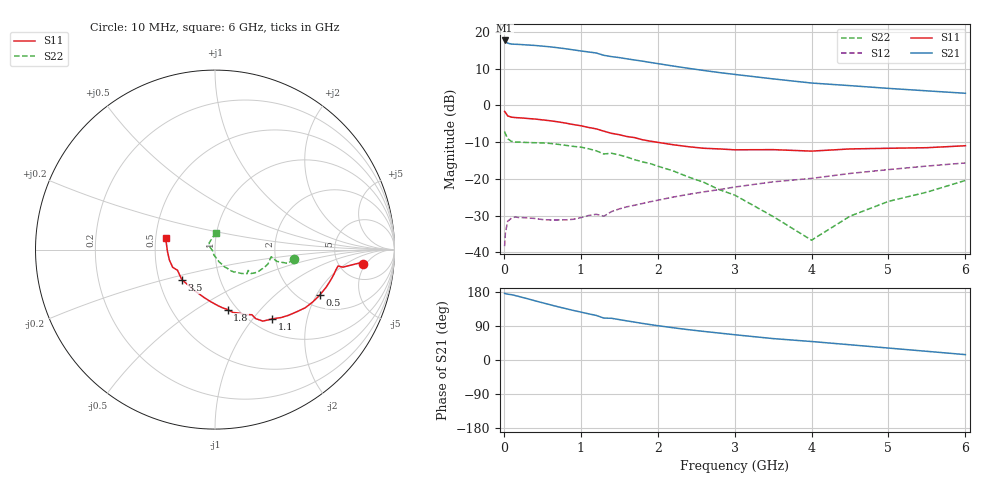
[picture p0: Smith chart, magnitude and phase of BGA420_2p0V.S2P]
! (c) 1999  Infineon Technologies AG, Munich
! Infineon Technologies  Discrete & RF Semiconductors
! BGA420
! Si NPN RF SIEGET Grounded Emitter Transistor in SOT343
! VCE =  IC =
! Common Emitter S-Parameters:  November  1999
# GHz  S  MA  R  50
!  f  S11  S21  S12  S22
! GHz  MAG  ANG  MAG  ANG  MAG  ANG  MAG  ANG
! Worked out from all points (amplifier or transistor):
!   36 points, 10 MHz to 6 GHz, reference 50 ohm
!   highest |S21| = 17.7 dB at 10 MHz (marker M1)
!   |S21| within 3 dB of that: start of sweep to 1.052 GHz
!   unconditionally stable (mu >= 1): start of sweep to end of sweep
!   at 250 MHz: K = 1.55, MAG = 19.2 dB, |S12| = -30.6 dB
!   at 1.4 GHz: K = 2.48, MAG = 14.3 dB, |S12| = -28.9 dB
!   at 6 GHz: K = 2.03, MAG = 3.7 dB, |S12| = -15.7 dB
!   S11 on the Smith chart (normalised r, x): 10 MHz: 8.44, -4.26; 500 MHz: 2.50, -2.13; 1.1 GHz: 1.23, -1.26; 1.8 GHz: 0.90, -0.68; 3.5 GHz: 0.66, -0.24; 6 GHz: 0.56, +0.08
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0.01  0.8278 -5.5  7.675 175.9  0.0121 46.6  0.4417 -6.9
0.02  0.8042 -5.4  7.506 175.2  0.0183 41.5  0.4132 -10.7
0.05  0.7197 -7.8  7.042 173.7  0.0264 23.4  0.3506 -10.8
0.1  0.6919 -7.6  6.85 172.4  0.0292 13.9  0.3239 -8.0
0.3  0.6652 -15.2  6.664 162.1  0.0294 8.8  0.3128 -9.0
0.5  0.6362 -23.5  6.429 151.2  0.0279 11.3  0.3085 -13.2
0.7  0.5986 -32.7  6.109 140.7  0.0275 20.0  0.2956 -18.6
0.8  0.5753 -36.7  5.922 135.8  0.0276 23.0  0.2864 -21.5
0.9  0.5498 -41.7  5.721 131.0  0.0281 28.0  0.277 -24.3
1.1  0.5015 -50.3  5.354 121.9  0.0316 35.6  0.2571 -30.2
1.2  0.4796 -56.2  5.181 117.7  0.0329 36.7  0.2411 -33.6
1.3  0.4462 -59.5  4.816 110.6  0.031 37.9  0.2181 -32.1
1.4  0.4167 -60.5  4.624 110.1  0.0358 44.3  0.2232 -36.9
1.8  0.3411 -78.2  4.013 96.6  0.0461 48.2  0.1702 -47.3
2.2  0.2916 -94.6  3.443 85.1  0.0564 49.3  0.1284 -56.0
2.4  0.274 -102.7  3.201 80.0  0.0615 49.1  0.1059 -62.1
2.8  0.2556 -117.4  2.804 71.1  0.0713 47.5  0.0712 -72.0
3.5  0.2499 -137.5  2.299 56.5  0.091 43.2  0.0307 -101.6
4  0.2386 -151.1  2.019 48.8  0.1014 40.4  0.0146 -145.9
4.5  0.2555 -157.2  1.861 40.2  0.1184 36.2  0.031 153.8
5.5  0.2656 -178.4  1.58 22.9  0.1493 24.7  0.0659 103.8
6  0.2824 166.7  1.464 14.2  0.1646 17.8  0.0951 87.6
